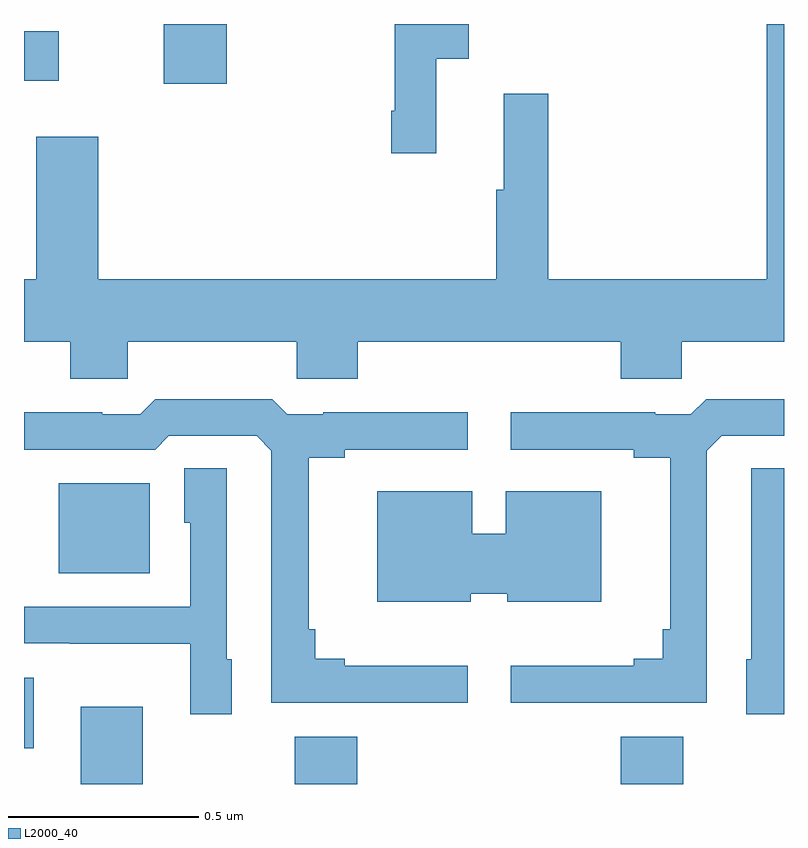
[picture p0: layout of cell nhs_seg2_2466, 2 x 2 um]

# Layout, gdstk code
import gdstk
lib = gdstk.Library(unit=1e-6, precision=1e-09)
def R(c, l, rs):  # rectangles x0, y0, x1, y1
    for r in rs: c.add(gdstk.rectangle(r[:2], r[2:], *l))
def P(c, l, *ps):  # polygons
    for p in ps: c.add(gdstk.Polygon(p, *l))
L2000_40 = (2000, 40)

nhs_seg2_2466 = lib.new_cell('nhs_seg2_2466')
R(nhs_seg2_2466, L2000_40, [(141.149,651.8,141.313,652.003), (141.713,651.8,141.877,651.925), (142.571,651.8,142.735,651.925), (141,651.894,141.025,652.08), (141.092,652.355,141.331,652.591), (141.368,653.643,141.534,653.8), (141,653.651,141.091,653.781)])
P(nhs_seg2_2466, L2000_40, [(141.273,652.964),(141.718,652.964),(141.718,652.866),(141.878,652.866),(141.878,652.964),(142.571,652.964),(142.571,652.866),(142.731,652.866),(142.731,652.964),(143,652.964),(143,653.8),(142.955,653.8),(142.955,653.128),(142.379,653.128),(142.379,653.617),(142.262,653.617),(142.262,653.364),(142.243,653.364),(142.243,653.128),(141.196,653.128),(141.196,653.503),(141.032,653.503),(141.032,653.128),(141,653.128),(141,652.964),(141.122,652.964),(141.122,652.866),(141.273,652.866)],
  [(142.085,653.708),(142.171,653.708),(142.171,653.8),(141.975,653.8),(141.975,653.572),(141.967,653.572),(141.967,653.46),(142.085,653.46)],
  [(142.168,652.111),(141.844,652.111),(141.844,652.13),(141.767,652.13),(141.767,652.207),(141.749,652.207),(141.749,652.658),(141.844,652.658),(141.844,652.68),(142.168,652.68),(142.168,652.778),(141.787,652.778),(141.787,652.773),(141.693,652.773),(141.653,652.813),(141.346,652.813),(141.306,652.773),(141.206,652.773),(141.206,652.778),(141,652.778),(141,652.68),(141.345,652.68),(141.381,652.716),(141.612,652.716),(141.651,652.677),(141.651,652.014),(142.168,652.014)],
  [(142.797,652.677),(142.836,652.716),(143,652.716),(143,652.813),(142.795,652.813),(142.755,652.773),(142.661,652.773),(142.661,652.778),(142.281,652.778),(142.281,652.68),(142.604,652.68),(142.604,652.658),(142.7,652.658),(142.7,652.207),(142.681,652.207),(142.681,652.13),(142.604,652.13),(142.604,652.111),(142.281,652.111),(142.281,652.014),(142.797,652.014)],
  [(143,652.631),(142.914,652.631),(142.914,652.128),(142.901,652.128),(142.901,651.984),(143,651.984)],
  [(141.547,652.128),(141.534,652.128),(141.534,652.631),(141.422,652.631),(141.422,652.488),(141.438,652.488),(141.438,652.266),(141,652.266),(141,652.17),(141.121,652.17),(141.121,652.169),(141.438,652.169),(141.438,651.984),(141.547,651.984)],
  [(142.176,652.301),(142.272,652.301),(142.272,652.28),(142.519,652.28),(142.519,652.57),(142.268,652.57),(142.268,652.459),(142.18,652.459),(142.18,652.57),(141.929,652.57),(141.929,652.28),(142.176,652.28)])

lib.write_gds('nhs_seg2_2466.gds')
